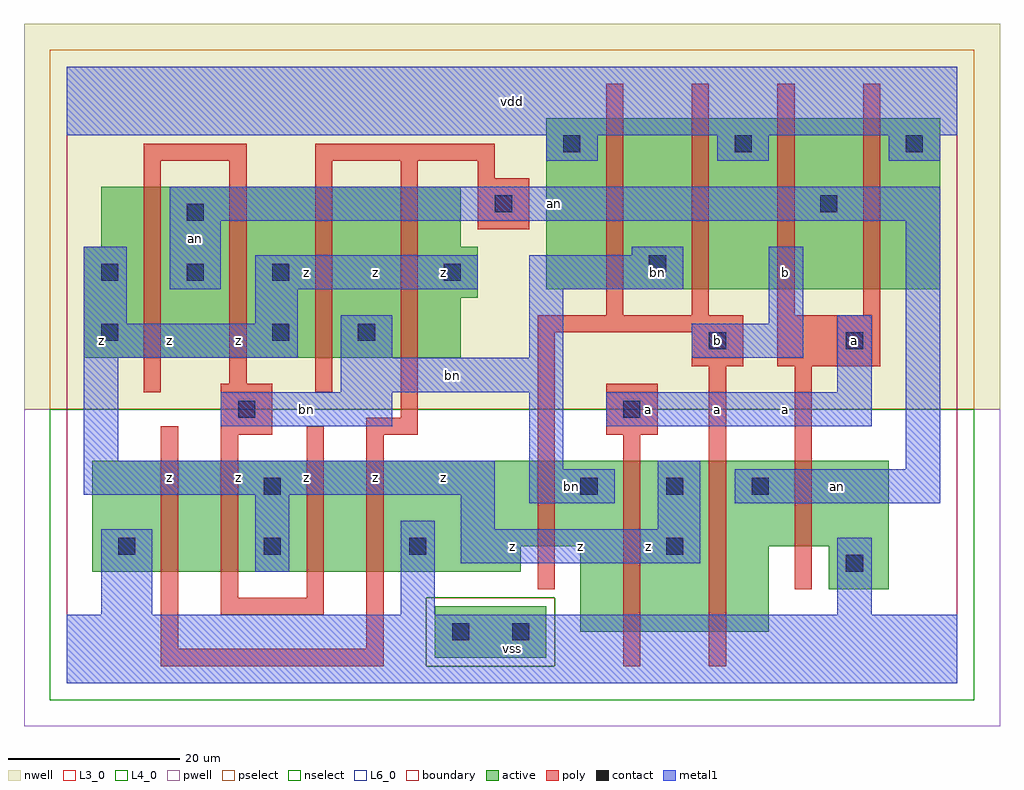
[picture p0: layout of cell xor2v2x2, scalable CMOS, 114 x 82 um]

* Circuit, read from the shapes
.subckt xor2v2x2 a an b bn vdd vss z
M1 n1 an vss vss nfet w=13u l=2u
M2 z bn n1 vss nfet w=13u l=2u
M3 n2 bn z vss nfet w=13u l=2u
M4 vss an n2 vss nfet w=13u l=2u
M5 bn b vss vss nfet w=10u l=2u
M6 z a bn vss nfet w=20u l=2u
M7 an b z vss nfet w=20u l=2u
M8 vss a an vss nfet w=10u l=2u
M9 an bn z n3 pfet w=20u l=2u m=2
M10 bn an z n3 pfet w=20u l=2u m=2
M11 bn b vdd n3 pfet w=20u l=2u m=2
M12 an a vdd n3 pfet w=20u l=2u m=2
.ends

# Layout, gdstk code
import gdstk
lib = gdstk.Library(unit=1e-6, precision=1e-09)
def R(c, l, rs):  # rectangles x0, y0, x1, y1
    for r in rs: c.add(gdstk.rectangle(r[:2], r[2:], *l))
def A(c, l, x, y, w, h, nx, ny, dx, dy):  # array of equal rectangles
    R(c, l, [(x+i*dx, y+j*dy, x+i*dx+w, y+j*dy+h) for i in range(nx) for j in range(ny)])
L3_0 = (3, 0)
L4_0 = (4, 0)
L6_0 = (6, 0)
contact = (25, 0)
pwell = (41, 0)
nwell = (42, 0)
active = (43, 0)
pselect = (44, 0)
nselect = (45, 0)
poly = (46, 0)
metal1 = (49, 0)
boundary = (63, 0)

xor2v2x2 = lib.new_cell('xor2v2x2')
R(xor2v2x2, L3_0, [(60,6,82,16), (89,11,96,16), (3,13,53,16), (3,16,96,26)])
R(xor2v2x2, L4_0, [(2,38,46,45), (2,45,48,51), (56,46,102,66), (4,51,46,58)])
R(xor2v2x2, L6_0, [(43,3,56,9)])
A(xor2v2x2, contact, 6, 15, 2, 2, 3, 1, 17, 0)
A(xor2v2x2, contact, 60, 22, 2, 2, 3, 1, 10, 0)
A(xor2v2x2, contact, 4, 47, 2, 2, 3, 1, 10, 0)
A(xor2v2x2, contact, 58, 62, 2, 2, 3, 1, 20, 0)
R(xor2v2x2, contact, [(45,5,47,7), (52,5,54,7), (91,13,93,15), (70,15,72,17), (23,22,25,24), (20,31,22,33), (65,31,67,33), (75,39,77,41), (91,39,93,41), (4,40,6,42), (24,40,26,42), (34,40,36,42), (44,47,46,49), (68,48,70,50), (14,54,16,56), (50,55,52,57), (88,55,90,57)])
R(xor2v2x2, pwell, [(-5,-5,109,32)])
R(xor2v2x2, nwell, [(-5,32,109,77)])
R(xor2v2x2, active, [(43,3,56,9), (60,6,82,16), (89,11,96,16), (3,13,53,16), (3,16,96,26), (2,38,46,45), (2,45,48,51), (56,46,102,66), (4,51,46,58)])
R(xor2v2x2, pselect, [(42,2,57,10), (-2,32,106,74)])
R(xor2v2x2, nselect, [(-2,-2,106,2), (-2,2,42,10), (57,2,106,10), (-2,10,106,32)])
A(xor2v2x2, poly, 63, 43, 2, 27, 4, 1, 10, 0)
R(xor2v2x2, poly, [(11,2,37,4), (65,2,67,29), (75,2,77,37), (11,4,13,30), (35,4,37,29), (18,8,30,10), (18,10,20,29), (28,10,30,30), (55,11,57,41), (85,11,87,37), (18,29,24,35), (35,29,41,31), (63,29,69,35), (39,31,41,61), (9,34,11,61), (29,34,31,61), (19,35,21,61), (73,37,79,41), (83,37,95,43), (55,41,79,43), (48,53,54,59), (48,59,50,61), (9,61,21,63), (29,61,50,63)])
A(xor2v2x2, metal1, 56, 61, 6, 3, 3, 1, 20, 0)
R(xor2v2x2, metal1, [(0,0,104,8), (4,8,10,18), (39,8,43,19), (90,8,94,17), (22,13,26,22), (46,14,74,18), (46,18,50,22), (69,18,74,26), (54,21,64,25), (78,21,102,25), (2,22,50,26), (54,25,58,34), (98,25,102,54), (2,26,6,38), (18,30,38,34), (63,30,94,34), (32,34,58,38), (90,34,94,43), (2,38,27,42), (32,38,38,43), (54,38,58,46), (73,38,86,42), (2,42,7,51), (22,42,27,46), (82,42,86,51), (12,46,18,54), (22,46,48,50), (54,46,72,50), (66,50,72,51), (12,54,102,58), (0,64,104,72)])
R(xor2v2x2, boundary, [(0,0,104,72)])
xor2v2x2.add(gdstk.Label('an', (15,52), layer=49, texttype=0))
xor2v2x2.add(gdstk.Label('bn', (28,32), layer=49, texttype=0))
xor2v2x2.add(gdstk.Label('bn', (59,23), layer=49, texttype=0))
xor2v2x2.add(gdstk.Label('bn', (45,36), layer=49, texttype=0))
xor2v2x2.add(gdstk.Label('bn', (69,48), layer=49, texttype=0))
xor2v2x2.add(gdstk.Label('an', (90,23), layer=49, texttype=0))
xor2v2x2.add(gdstk.Label('an', (57,56), layer=49, texttype=0))
xor2v2x2.add(gdstk.Label('z', (20,24), layer=49, texttype=0))
xor2v2x2.add(gdstk.Label('z', (12,24), layer=49, texttype=0))
xor2v2x2.add(gdstk.Label('z', (12,40), layer=49, texttype=0))
xor2v2x2.add(gdstk.Label('z', (4,40), layer=49, texttype=0))
xor2v2x2.add(gdstk.Label('z', (20,40), layer=49, texttype=0))
xor2v2x2.add(gdstk.Label('z', (28,24), layer=49, texttype=0))
xor2v2x2.add(gdstk.Label('z', (44,24), layer=49, texttype=0))
xor2v2x2.add(gdstk.Label('z', (36,24), layer=49, texttype=0))
xor2v2x2.add(gdstk.Label('z', (28,48), layer=49, texttype=0))
xor2v2x2.add(gdstk.Label('z', (44,48), layer=49, texttype=0))
xor2v2x2.add(gdstk.Label('z', (36,48), layer=49, texttype=0))
xor2v2x2.add(gdstk.Label('vss', (52,4), layer=49, texttype=0))
xor2v2x2.add(gdstk.Label('z', (60,16), layer=49, texttype=0))
xor2v2x2.add(gdstk.Label('z', (68,16), layer=49, texttype=0))
xor2v2x2.add(gdstk.Label('z', (52,16), layer=49, texttype=0))
xor2v2x2.add(gdstk.Label('a', (68,32), layer=49, texttype=0))
xor2v2x2.add(gdstk.Label('a', (76,32), layer=49, texttype=0))
xor2v2x2.add(gdstk.Label('b', (76,40), layer=49, texttype=0))
xor2v2x2.add(gdstk.Label('vdd', (52,68), layer=49, texttype=0))
xor2v2x2.add(gdstk.Label('a', (84,32), layer=49, texttype=0))
xor2v2x2.add(gdstk.Label('a', (92,40), layer=49, texttype=0))
xor2v2x2.add(gdstk.Label('b', (84,48), layer=49, texttype=0))

lib.write_gds('xor2v2x2.gds')
